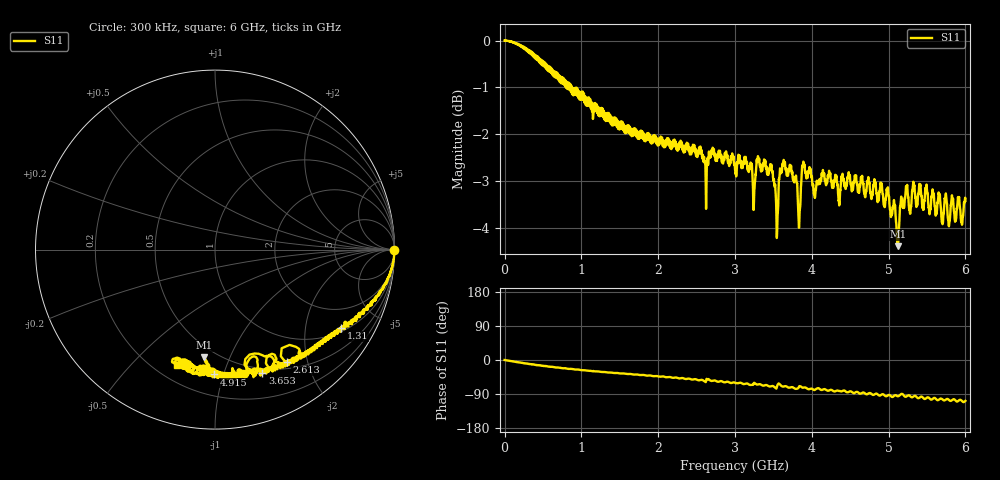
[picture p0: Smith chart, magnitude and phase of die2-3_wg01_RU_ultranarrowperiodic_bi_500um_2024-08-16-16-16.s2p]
!Keysight Technologies,P9374A,MY57304198,A.17.20.09
!Date: Friday, August 16, 2024 16:16:27
!Correction: S11(C  1-Port  )
!S21(C  1-Port  )
!S12(Off)
!S22(Off)
!S2P File: Measurements: S11, S21, S12, S22:
# Hz S  dB  R 50
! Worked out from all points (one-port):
!   6000 points, 300 kHz to 6 GHz, reference 50 ohm
!   lowest |S11| = -4.4 dB at 5.121 GHz (marker M1), VSWR 4.05, Z = 21.4 - j40.5 ohm
!   |S11| at or under -10 dB: nowhere
!   S11 on the Smith chart (normalised r, x): 300 kHz: open; 1.31 GHz: 1.13, -3.13; 2.613 GHz: 0.59, -1.66; 3.653 GHz: 0.45, -1.35; 4.915 GHz: 0.34, -0.93; 6 GHz: 0.29, -0.69
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300000  0.00 -0.0  -200.00 45.0  -200.00 45.0  -200.00 45.0
4.97358e8  -0.44 -15.2  -200.00 45.0  -200.00 45.0  -200.00 45.0
1.000417e9  -1.09 -26.6  -200.00 45.0  -200.00 45.0  -200.00 45.0
1.310453e9  -1.64 -31.9  -200.00 45.0  -200.00 45.0  -200.00 45.0
2.000533e9  -2.12 -43.2  -200.00 45.0  -200.00 45.0  -200.00 45.0
2.612605e9  -2.57 -57.6  -200.00 45.0  -200.00 45.0  -200.00 45.0
2.65861e9  -2.42 -51.0  -200.00 45.0  -200.00 45.0  -200.00 45.0
3.00065e9  -2.75 -60.1  -200.00 45.0  -200.00 45.0  -200.00 45.0
3.311686e9  -2.56 -63.9  -200.00 45.0  -200.00 45.0  -200.00 45.0
3.520711e9  -3.09 -72.9  -200.00 45.0  -200.00 45.0  -200.00 45.0
3.579718e9  -2.89 -63.3  -200.00 45.0  -200.00 45.0  -200.00 45.0
3.652726e9  -2.67 -69.0  -200.00 45.0  -200.00 45.0  -200.00 45.0
3.795743e9  -2.92 -76.1  -200.00 45.0  -200.00 45.0  -200.00 45.0
3.837748e9  -3.86 -69.1  -200.00 45.0  -200.00 45.0  -200.00 45.0
3.893754e9  -2.66 -72.8  -200.00 45.0  -200.00 45.0  -200.00 45.0
4.000767e9  -2.89 -75.8  -200.00 45.0  -200.00 45.0  -200.00 45.0
4.914873e9  -3.15 -90.6  -200.00 45.0  -200.00 45.0  -200.00 45.0
5.000883e9  -3.31 -92.2  -200.00 45.0  -200.00 45.0  -200.00 45.0
5.120897e9  -4.38 -95.7  -200.00 45.0  -200.00 45.0  -200.00 45.0
5.171903e9  -3.41 -89.4  -200.00 45.0  -200.00 45.0  -200.00 45.0
5.327922e9  -3.08 -95.7  -200.00 45.0  -200.00 45.0  -200.00 45.0
6e9  -3.42 -107.9  -200.00 45.0  -200.00 45.0  -200.00 45.0
